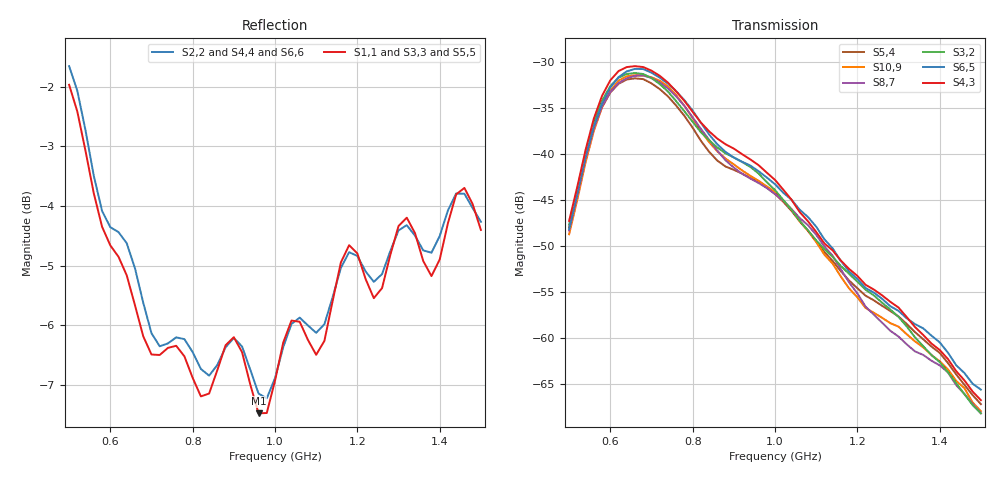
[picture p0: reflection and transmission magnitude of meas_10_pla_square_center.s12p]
! Converted from meas_10_pla_square_center.mat
! MATLAB 5.0 MAT-file, Platform: PCWIN64, Created on: Sat Nov 21 15:17:20 2026
! Ports 1-12 = antennas 1-12; IFBW=1000 Hz, power=0 dBm, doCalibration flag=0
! SW_A serial 12410080206: antennas 1 3 5 7 9 11
! SW_B serial 12410080235: antennas 2 4 6 8 10 12
! WARNING: Sij (i!=j) between two odd or two even ports was NOT MEASURED (NaN in source).
! Those entries are written as 0 0 placeholders. Do not treat them as data.
! Reference impedance 50 ohm is assumed (not stored in source).
# Hz S RI R 50
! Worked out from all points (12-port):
!   51 points, 500 MHz to 1.5 GHz, reference 50 ohm
!   strongest paths, dB at 500 MHz, 740 MHz, 1 GHz, 1.26 GHz, 1.5 GHz:
!     S4,3: -47.3, -32.3, -42.8, -55.3, -66.7
!     S6,5: -48.1, -32.4, -43.3, -55.7, -65.6
!     S3,2: -47.7, -33.2, -43.9, -56.1, -68.1
!     S8,7: -48.3, -32.9, -44.4, -58.3, -68.1
!     S10,9: -48.7, -32.7, -44.1, -57.8, -67.9
!     S5,4: -47.9, -33.8, -44.4, -56.5, -67.1
!   lowest |S11| = -7.5 dB at 960 MHz (marker M1), VSWR 2.46, Z = 24.3 - j20 ohm
!   |S11| at or under -10 dB: nowhere
